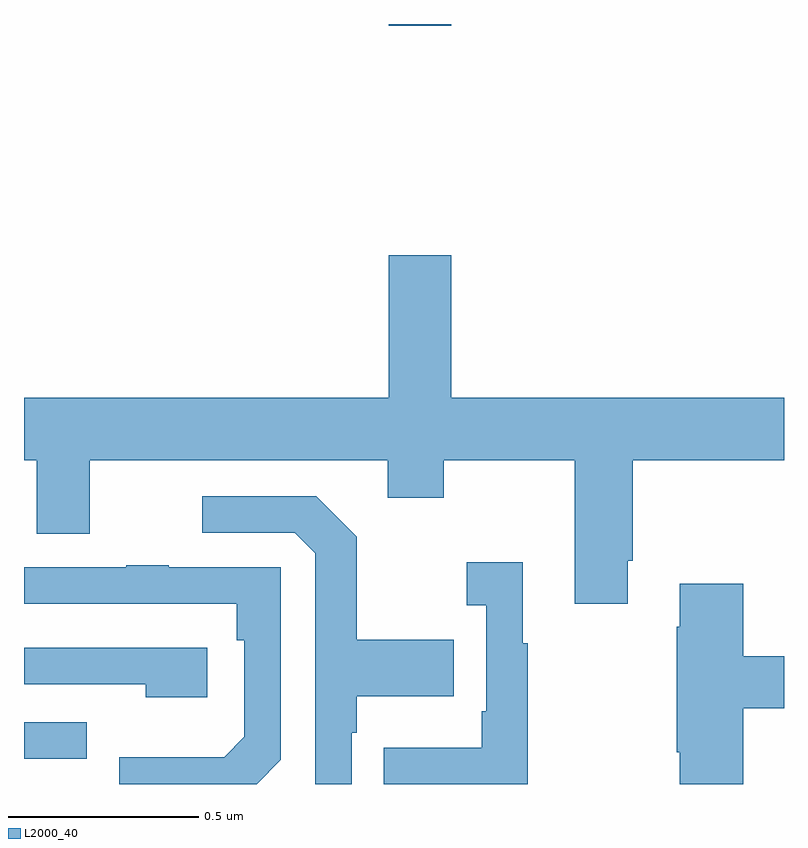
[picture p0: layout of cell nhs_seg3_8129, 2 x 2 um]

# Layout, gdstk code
import gdstk
lib = gdstk.Library(unit=1e-6, precision=1e-09)
def R(c, l, rs):  # rectangles x0, y0, x1, y1
    for r in rs: c.add(gdstk.rectangle(r[:2], r[2:], *l))
def P(c, l, *ps):  # polygons
    for p in ps: c.add(gdstk.Polygon(p, *l))
L2000_40 = (2000, 40)

nhs_seg3_8129 = lib.new_cell('nhs_seg3_8129')
R(nhs_seg3_8129, L2000_40, [(212,697.467,212.165,697.563), (212.96,699.396,213.124,699.4)])
P(nhs_seg3_8129, L2000_40, [(212,698.252),(212.033,698.252),(212.033,698.058),(212.173,698.058),(212.173,698.252),(212.957,698.252),(212.957,698.153),(213.105,698.153),(213.105,698.252),(213.449,698.252),(213.449,697.875),(213.589,697.875),(213.589,697.987),(213.602,697.987),(213.602,698.252),(214,698.252),(214,698.416),(213.124,698.416),(213.124,698.791),(212.96,698.791),(212.96,698.416),(212,698.416)],
  [(212.862,697.535),(212.875,697.535),(212.875,697.631),(213.131,697.631),(213.131,697.779),(212.875,697.779),(212.875,698.051),(212.769,698.157),(212.469,698.157),(212.469,698.061),(212.712,698.061),(212.766,698.007),(212.766,697.4),(212.862,697.4)],
  [(213.325,697.771),(213.313,697.771),(213.313,697.984),(213.165,697.984),(213.165,697.871),(213.216,697.871),(213.216,697.591),(213.204,697.591),(213.204,697.495),(212.947,697.495),(212.947,697.4),(213.325,697.4)],
  [(212.676,697.464),(212.676,697.971),(212.381,697.971),(212.381,697.976),(212.269,697.976),(212.269,697.971),(212,697.971),(212,697.875),(212.56,697.875),(212.56,697.778),(212.58,697.778),(212.58,697.524),(212.527,697.471),(212.25,697.471),(212.25,697.4),(212.612,697.4)],
  [(213.893,697.6),(214,697.6),(214,697.736),(213.893,697.736),(213.893,697.927),(213.725,697.927),(213.725,697.814),(213.718,697.814),(213.718,697.483),(213.725,697.483),(213.725,697.4),(213.893,697.4)],
  [(212.482,697.758),(212,697.758),(212,697.662),(212.321,697.662),(212.321,697.628),(212.482,697.628)])

lib.write_gds('nhs_seg3_8129.gds')
